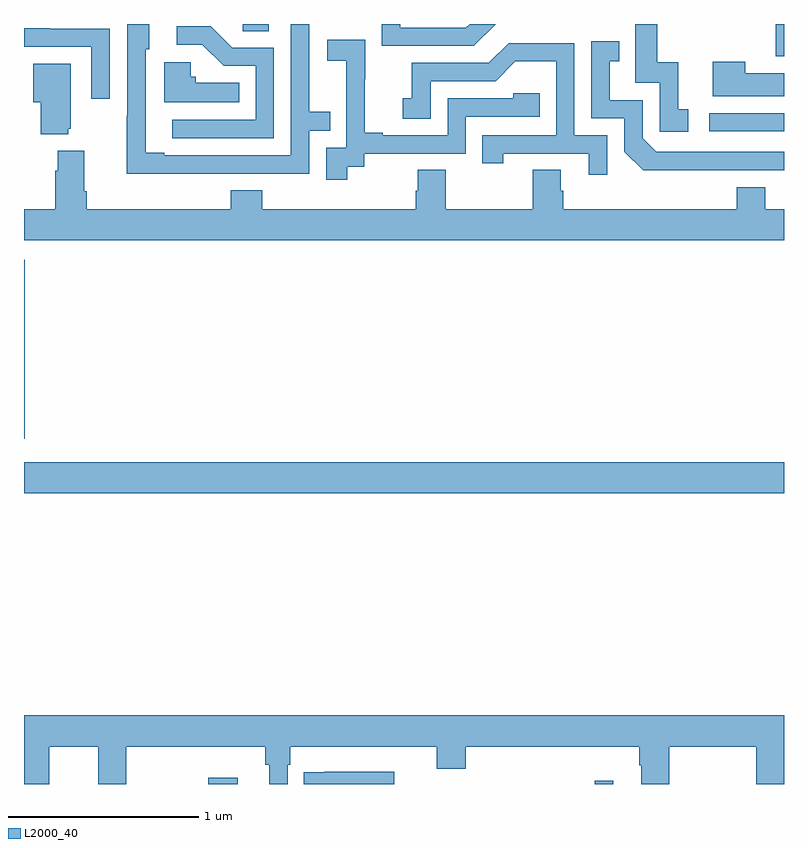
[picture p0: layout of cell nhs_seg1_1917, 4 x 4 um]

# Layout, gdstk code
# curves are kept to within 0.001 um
import gdstk
lib = gdstk.Library(unit=1e-6, precision=1e-09)
def R(c, l, rs):  # rectangles x0, y0, x1, y1
    for r in rs: c.add(gdstk.rectangle(r[:2], r[2:], *l))
def P(c, l, *ps):  # polygons
    for p in ps: c.add(gdstk.Polygon(p, *l))
L2000_40 = (2000, 40)

nhs_seg1_1917 = lib.new_cell('nhs_seg1_1917')
R(nhs_seg1_1917, L2000_40, [(215.971,554.199,216.124,554.233), (218.004,554.199,218.101,554.215), (215,555.728,219,555.892), (215,556.017,215.003,556.957), (218.607,557.634,219,557.73), (218.957,558.03,219,558.199), (216.15,558.16,216.289,558.199)])
P(nhs_seg1_1917, L2000_40, [(218.497,557.751),(218.444,557.751),(218.444,557.998),(218.333,557.998),(218.333,558.199),(218.217,558.199),(218.217,557.889),(218.346,557.889),(218.346,557.631),(218.497,557.631)],
  [(217.483,558.199),(217.345,558.199),(217.326,558.18),(216.979,558.18),(216.979,558.199),(216.882,558.199),(216.882,558.084),(217.368,558.084)],
  [(216.005,557.412),(216.501,557.412),(216.501,557.637),(216.611,557.637),(216.611,557.738),(216.501,557.738),(216.501,558.199),(216.405,558.199),(216.405,557.508),(215.737,557.508),(215.737,557.521),(215.64,557.521),(215.64,558.066),(215.659,558.066),(215.659,558.199),(215.544,558.199),(215.544,557.717),(215.542,557.717),(215.542,557.411),(216.005,557.411)],
  [(216.315,558.075),(216.096,558.075),(215.983,558.188),(215.805,558.188),(215.805,558.09),(215.939,558.09),(216.05,557.979),(216.219,557.979),(216.219,557.694),(215.781,557.694),(215.781,557.598),(216.315,557.598)],
  [(215.451,558.174),(215.135,558.174),(215.135,558.176),(215,558.176),(215,558.078),(215.355,558.078),(215.355,557.805),(215.451,557.805)],
  [(216.7,557.449),(216.792,557.449),(216.792,557.517),(217.326,557.517),(217.326,557.712),(217.715,557.712),(217.715,557.835),(217.575,557.835),(217.575,557.808),(217.23,557.808),(217.23,557.613),(216.889,557.613),(216.889,557.626),(216.794,557.626),(216.794,557.909),(216.795,557.909),(216.795,558.115),(216.597,558.115),(216.597,558.005),(216.695,558.005),(216.695,557.777),(216.696,557.777),(216.696,557.547),(216.591,557.547),(216.591,557.379),(216.7,557.379)],
  [(218.666,557.43),(219,557.43),(219,557.526),(218.328,557.526),(218.256,557.598),(218.256,557.799),(218.083,557.799),(218.083,558.003),(218.132,558.003),(218.132,558.109),(217.986,558.109),(217.986,557.703),(218.16,557.703),(218.16,557.526),(218.258,557.429)],
  [(218.07,557.613),(217.896,557.613),(217.896,558.099),(217.55,558.099),(217.445,557.994),(217.042,557.994),(217.042,557.809),(216.993,557.809),(216.993,557.7),(217.14,557.7),(217.14,557.898),(217.482,557.898),(217.586,558.002),(217.8,558.002),(217.8,557.613),(217.411,557.613),(217.411,557.466),(217.522,557.466),(217.522,557.517),(217.973,557.517),(217.973,557.406),(218.07,557.406)],
  [(219,557.941),(218.795,557.941),(218.795,558.001),(218.624,558.001),(218.624,557.819),(219,557.819)],
  [(216.134,557.89),(215.904,557.89),(215.904,557.922),(215.877,557.922),(215.877,557.998),(215.738,557.998),(215.738,557.786),(216.134,557.786)],
  [(215.234,557.649),(215.245,557.649),(215.245,557.989),(215.048,557.989),(215.048,557.786),(215.087,557.786),(215.087,557.618),(215.234,557.618)],
  [(219,557.224),(218.902,557.224),(218.902,557.341),(218.75,557.341),(218.75,557.224),(217.838,557.224),(217.838,557.322),(217.825,557.322),(217.825,557.432),(217.678,557.432),(217.678,557.224),(217.221,557.224),(217.221,557.432),(217.073,557.432),(217.073,557.322),(217.061,557.322),(217.061,557.224),(216.254,557.224),(216.254,557.323),(216.089,557.323),(216.089,557.224),(215.33,557.224),(215.33,557.32),(215.317,557.32),(215.317,557.533),(215.177,557.533),(215.177,557.426),(215.165,557.426),(215.165,557.224),(215,557.224),(215,557.06),(219,557.06)],
  [(215,554.199),(215.134,554.199),(215.134,554.396),(215.39,554.396),(215.39,554.199),(215.538,554.199),(215.538,554.396),(216.271,554.396),(216.271,554.3),(216.29,554.3),(216.29,554.199),(216.387,554.199),(216.387,554.3),(216.401,554.3),(216.401,554.396),(217.172,554.396),(217.172,554.279),(217.325,554.279),(217.325,554.396),(218.237,554.396),(218.237,554.298),(218.249,554.298),(218.249,554.199),(218.397,554.199),(218.397,554.396),(218.854,554.396),(218.854,554.199),(219,554.199),(219,554.56),(215,554.56)],
  [(216.948,554.263),(216.58,554.263),(216.58,554.262),(216.472,554.262),(216.472,554.199),(216.948,554.199)])

lib.write_gds('nhs_seg1_1917.gds')
